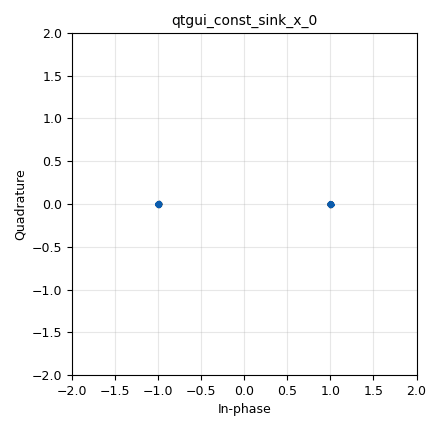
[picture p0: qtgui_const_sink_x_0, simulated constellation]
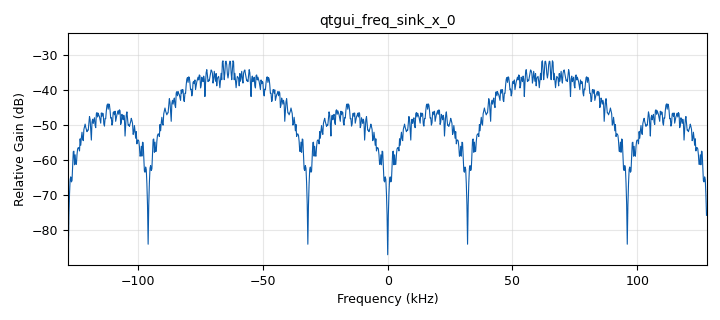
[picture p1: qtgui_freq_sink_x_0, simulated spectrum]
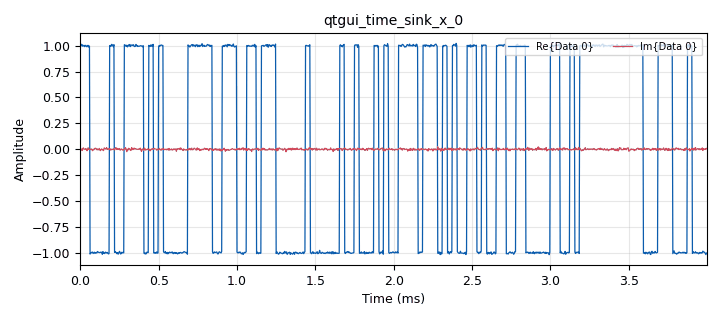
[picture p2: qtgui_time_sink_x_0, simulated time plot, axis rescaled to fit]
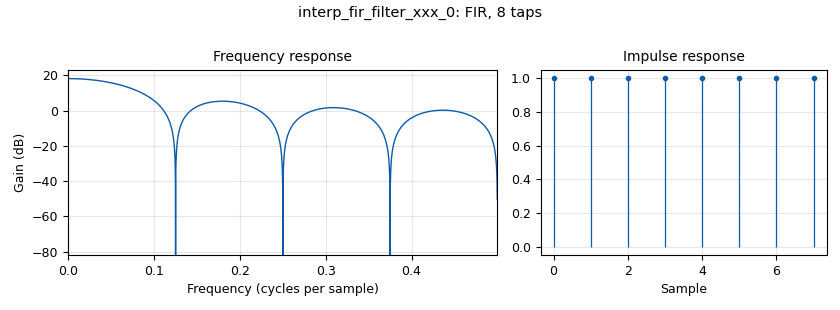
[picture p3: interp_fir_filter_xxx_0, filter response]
options:
  parameters:
    author: radiogis_director
    generate_options: qt_gui
    id: top_block
    output_language: python
    title: top_block
  states: {}

blocks:
- name: F_C
  id: variable
  parameters:
    value: 2*Rs
  states: {}
- name: M
  id: variable
  parameters:
    value: '2'
  states: {}
- name: Rb
  id: variable
  parameters:
    value: Rs*bps
  states: {}
- name: Rs
  id: variable
  parameters:
    value: '32000'
  states: {}
- name: Sps
  id: variable
  parameters:
    value: '8'
  states: {}
- name: bps
  id: variable
  parameters:
    value: int(math.log(M,2))
  states: {}
- name: h
  id: variable
  parameters:
    value: '[1]*Sps'
  states: {}
- name: samp_rate
  id: variable
  parameters:
    value: Rs*Sps
  states: {}
- name: tabla_de_verdad_constelacion
  id: variable
  parameters:
    value: '[1+0j, -1+0j]'
  states: {}
- name: analog_noise_source_x_0
  id: analog_noise_source_x
  parameters:
    amp: '0.01'
    noise_type: analog.GR_GAUSSIAN
    seed: '0'
    type: complex
  states: {}
- name: analog_random_source_x_0
  id: analog_random_source_x
  parameters:
    max: '2'
    min: '0'
    num_samps: '1000'
    repeat: 'True'
    type: byte
  states: {}
- name: blocks_add_xx_0
  id: blocks_add_xx
  parameters:
    type: complex
  states: {}
- name: blocks_pack_k_bits_bb_0
  id: blocks_pack_k_bits_bb
  parameters:
    k: '8'
  states: {}
- name: blocks_packed_to_unpacked_xx_0
  id: blocks_packed_to_unpacked_xx
  parameters:
    bits_per_chunk: bps
    endianness: gr.GR_MSB_FIRST
    type: byte
  states: {}
- name: digital_chunks_to_symbols_xx_0
  id: digital_chunks_to_symbols_xx
  parameters:
    dimension: '1'
    in_type: byte
    out_type: complex
    symbol_table: tabla_de_verdad_constelacion
  states: {}
- name: epy_block_1
  id: epy_block
  parameters:
    _source_code: "import numpy as np\nfrom gnuradio import gr\n\nclass up_converter(gr.sync_block):\n    \"\"\"\n    Bloque de conversión ascendente (Up-Converter)\n    Convierte una señal I/Q de banda base a una señal pasabanda centrada en f_c.\n    \"\"\"\n    def __init__(self, samp_rate=32000, f_c=10000):\n        gr.sync_block.__init__(\n            self,\n            name=\"up_converter\",\n            in_sig=[np.complex64],\n            out_sig=[np.float32]  # ← salida compleja (azul)\n        )\n        self.samp_rate = samp_rate\n        self.f_c = f_c\n        self.n = 0  # Contador de muestras\n\n    def work(self, input_items, output_items):\n        in0 = input_items[0]  # Señal compleja de entrada (banda base)\n        out = output_items[0]\n\n        # Vector de tiempo para la portadora\n        t = (np.arange(len(in0)) + self.n) / self.samp_rate\n        self.n += len(in0)\n\n        # Generación de la señal pasabanda compleja\n        carrier = np.exp(1j * 2 * np.pi * self.f_c * t)\n        upconverted = in0 * carrier\n\n        out[:] = np.real(upconverted.astype(np.complex64))\n        return len(out)\n\n"
    f_c: F_C
    samp_rate: samp_rate
  states: {}
- name: import_0
  id: import
  parameters:
    imports: import math
  states: {}
- name: interp_fir_filter_xxx_0
  id: interp_fir_filter_xxx
  parameters:
    interp: Sps
    taps: h
    type: ccf
  states: {}
- name: qtgui_const_sink_x_0
  id: qtgui_const_sink_x
  parameters:
    size: '1024'
    type: complex
  states: {}
- name: qtgui_freq_sink_x_0
  id: qtgui_freq_sink_x
  parameters:
    autoscale: 'True'
    average: '0.05'
    bw: samp_rate
    fc: '0'
    fftsize: '1024'
    type: float
  states: {}
- name: qtgui_time_sink_x_0
  id: qtgui_time_sink_x
  parameters:
    size: '1024'
    srate: samp_rate
    type: complex
  states: {}
- name: virtual_sink_0
  id: virtual_sink
  parameters:
    stream_id: p1
  states: {}
- name: virtual_sink_0_0
  id: virtual_sink
  parameters:
    stream_id: p0
  states: {}
- name: virtual_source_0
  id: virtual_source
  parameters:
    stream_id: p1
  states: {}
- name: virtual_source_0_0
  id: virtual_source
  parameters:
    stream_id: p0
  states: {}

connections:
- [analog_noise_source_x_0, '0', blocks_add_xx_0, '0']
- [analog_random_source_x_0, '0', blocks_pack_k_bits_bb_0, '0']
- [blocks_add_xx_0, '0', virtual_sink_0, '0']
- [blocks_pack_k_bits_bb_0, '0', blocks_packed_to_unpacked_xx_0, '0']
- [blocks_packed_to_unpacked_xx_0, '0', digital_chunks_to_symbols_xx_0, '0']
- [digital_chunks_to_symbols_xx_0, '0', interp_fir_filter_xxx_0, '0']
- [epy_block_1, '0', qtgui_freq_sink_x_0, '0']
- [interp_fir_filter_xxx_0, '0', blocks_add_xx_0, '1']
- [interp_fir_filter_xxx_0, '0', virtual_sink_0_0, '0']
- [virtual_source_0, '0', qtgui_const_sink_x_0, '0']
- [virtual_source_0, '0', qtgui_time_sink_x_0, '0']
- [virtual_source_0_0, '0', epy_block_1, '0']

metadata:
  file_format: 1
  grc_version: 3.10.12.0
